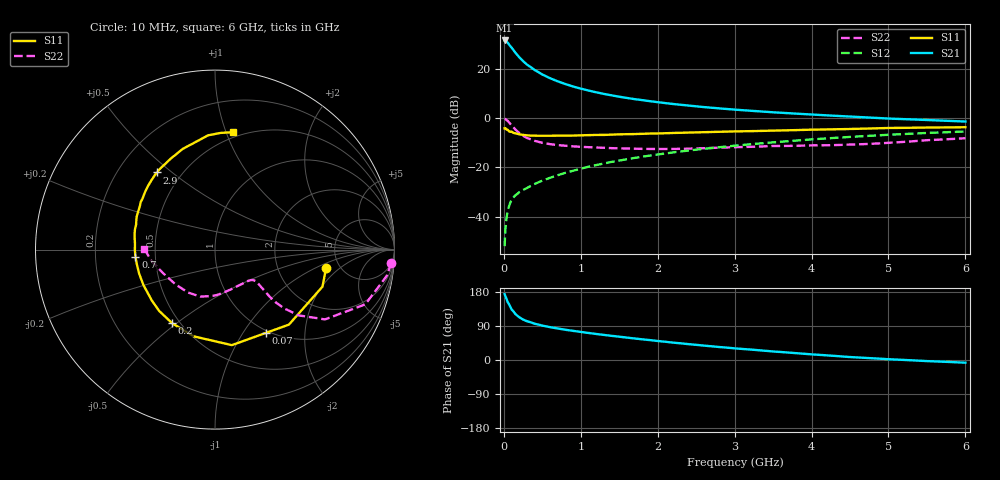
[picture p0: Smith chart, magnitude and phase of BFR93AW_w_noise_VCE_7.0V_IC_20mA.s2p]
! (c) 2017  Infineon Technologies AG, Munich
! Infineon Technologies  Discrete & RF Semiconductors
! BFR93AW
! VCE =  7.0 V,  IC =  20 mA
! Common Emitter S-Parameters:  Jan 2017
# GHz  S  MA  R  50
!  f  S11  S21  S12  S22
! GHz  MAG  ANG  MAG  ANG  MAG  ANG  MAG  ANG
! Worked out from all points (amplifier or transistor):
!   77 points, 10 MHz to 6 GHz, reference 50 ohm
!   highest |S21| = 31.7 dB at 10 MHz (marker M1)
!   |S21| within 3 dB of that: start of sweep to 102.7 MHz
!   unconditionally stable (mu >= 1): 697.7 MHz to 2.062 GHz
!   at 130 MHz: K = 0.43, MSG = 29.8 dB, |S12| = -32.0 dB
!   at 2.2 GHz: K = 0.99, MSG = 9.9 dB, |S12| = -13.9 dB
!   at 6 GHz: K = 0.86, MSG = 2.0 dB, |S12| = -5.3 dB
!   lowest NFmin = 1.52 dB at 450 MHz
!   S11 on the Smith chart (normalised r, x): 10 MHz: 3.88, -1.34; 70 MHz: 0.97, -1.28; 200 MHz: 0.46, -0.48; 700 MHz: 0.38, -0.04; 2.9 GHz: 0.37, +0.44; 6 GHz: 0.45, +1.05
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0.01  0.6272 -9.6  38.64 173.8  0.0025 89.4  0.9851 -4.3
0.02  0.6334 -19.0  38.48 168.4  0.0055 83.7  0.968 -8.7
0.05  0.5868 -45.4  34.84 152.9  0.0132 73.2  0.8913 -20.0
0.07  0.5441 -58.4  31.57 146.2  0.0167 67.5  0.8207 -24.4
0.1  0.5405 -80.0  27.7 133.6  0.0221 62.4  0.7258 -32.4
0.15  0.4976 -103.8  21.78 121.2  0.0271 57.6  0.5932 -38.2
0.2  0.4746 -120.2  17.6 112.9  0.0313 58.0  0.5041 -40.4
0.25  0.4622 -132.2  14.68 106.7  0.0349 57.2  0.4442 -41.0
0.3  0.4522 -141.0  12.49 102.4  0.0382 58.9  0.3997 -40.7
0.4  0.4449 -153.7  9.665 95.7  0.0463 60.7  0.3486 -39.5
0.5  0.4434 -162.6  7.829 90.8  0.0538 62.8  0.3178 -38.6
0.6  0.4429 -169.4  6.593 86.7  0.0617 64.7  0.299 -38.0
0.7  0.4451 -174.8  5.687 83.2  0.0696 66.2  0.2861 -37.8
0.9  0.4468 176.1  4.46 76.9  0.0858 67.4  0.2698 -39.0
1.1  0.4565 169.0  3.695 71.4  0.1036 68.1  0.2594 -41.3
1.5  0.4732 157.2  2.763 61.5  0.1382 67.6  0.2454 -49.0
2.1  0.4985 142.9  2.05 48.1  0.1932 64.4  0.2382 -66.0
2.9  0.5381 127.0  1.553 32.6  0.2682 58.4  0.2561 -90.9
3.1  0.5463 123.1  1.471 29.2  0.287 56.5  0.2611 -96.6
4.1  0.5924 106.2  1.176 13.6  0.3823 46.8  0.2826 -125.4
5.1  0.6399 92.2  0.979 1.2  0.4716 35.7  0.3248 -158.9
6  0.6611 81.5  0.863 -7.1  0.5416 25.5  0.3943 179.2
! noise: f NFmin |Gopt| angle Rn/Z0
0.45  1.52  0.14  161  0.15
0.9  1.8  0.23  175  0.15
1.9  2.8  0.48  -138  0.23
2.4  3.43  0.54  -126  0.45
